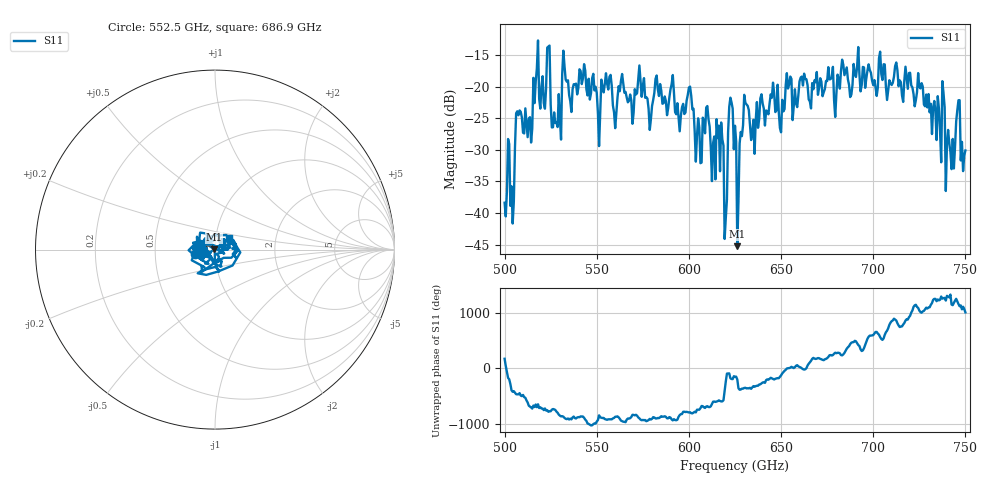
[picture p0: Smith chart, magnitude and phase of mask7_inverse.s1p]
!Created with skrf (http://scikit-rf.org).
# GHz S MA R 50.0
!freq magS11 angS11
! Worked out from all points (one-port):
!   401 points, 500 GHz to 750 GHz, reference 50 ohm
!   lowest |S11| = -45.2 dB at 626.2 GHz (marker M1), VSWR 1.01, Z = 49.5 + j0.187 ohm
!   |S11| at or under -10 dB: start of sweep to end of sweep
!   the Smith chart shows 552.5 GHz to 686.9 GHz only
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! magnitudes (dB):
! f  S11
! 500 GHz  -38.4
! 504.4 GHz  -41.6
! 507.5 GHz  -24.5
! 513.8 GHz  -24.8
! 516.9 GHz  -19.2
! 520.6 GHz  -18.4
! 523.8 GHz  -13.7
! 526.9 GHz  -24.1
! 531.2 GHz  -18.0
! 560 GHz  -26.6
! 562.5 GHz  -20.7
! 593.8 GHz  -22.6
! 600 GHz  -20.1
! 605 GHz  -25.0
! 616.2 GHz  -26.2
! 619.4 GHz  -44.1
! 622.5 GHz  -21.7
! 625 GHz  -26.2
! 626.2 GHz  -45.2
! 631.2 GHz  -22.8
! 634.4 GHz  -27.3
! 656.2 GHz  -25.3
! 687.5 GHz  -21.7
! 718.8 GHz  -20.3
! 737.5 GHz  -19.1
! 740.6 GHz  -26.8
! 745.6 GHz  -23.7
! 750 GHz  -30.1
